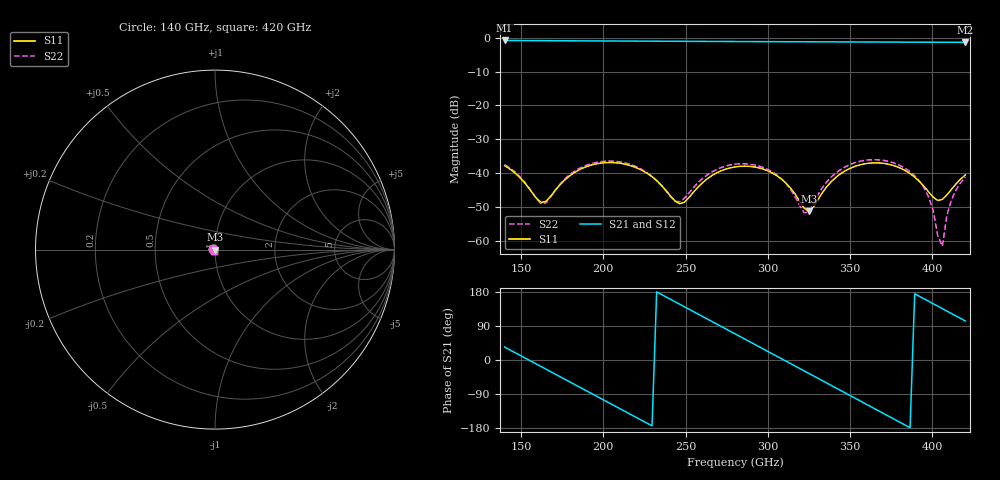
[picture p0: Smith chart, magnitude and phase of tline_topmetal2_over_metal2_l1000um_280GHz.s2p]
#  GHZ S DB R 50
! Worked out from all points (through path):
!   101 points, 140 GHz to 420 GHz, reference 50 ohm
!   highest |S21| = -0.83 dB at 140 GHz (marker M1); lowest = -1.4 dB at 420 GHz (marker M2)
!   group delay of S21, straight-line fit = 6.46 ps
!   lowest |S11| = -51.2 dB at 324.8 GHz (marker M3), VSWR 1.01, Z = 50.3 - j0.0711 ohm
!   |S11| at or under -10 dB: start of sweep to end of sweep
!   |S22| runs from -61.5 to -36.0 dB; largest |S21 - S12| = 1e-13
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140  -37.73 169.2  -0.83 34.1  -0.83 34.1  -37.44 170.9
162.4  -48.59 39.0  -0.88 -17.8  -0.88 -17.8  -49.04 42.1
187.6  -38.44 -110.9  -0.95 -76.3  -0.95 -76.3  -38.03 -109.5
207.2  -36.88 -172.5  -0.99 -121.8  -0.99 -121.8  -36.48 -169.5
221.2  -38.59 143.2  -1.02 -154.3  -1.02 -154.3  -38.31 146.9
235.2  -43.48 89.2  -1.05 173.2  -1.05 173.2  -43.57 91.7
246.4  -48.98 3.1  -1.07 147.2  -1.07 147.2  -48.41 -1.8
263.2  -41.59 -111.7  -1.11 108.1  -1.11 108.1  -40.44 -106.6
280  -38.11 -168.2  -1.14 69.0  -1.14 69.0  -37.30 -160.8
302.4  -39.83 122.9  -1.18 16.9  -1.18 16.9  -39.51 132.5
324.8  -51.18 -14.8  -1.22 -35.2  -1.22 -35.2  -51.42 -22.8
327.6  -49.98 -49.8  -1.22 -41.7  -1.22 -41.7  -48.96 -55.3
336  -43.81 -107.7  -1.24 -61.3  -1.24 -61.3  -42.38 -102.9
350  -38.52 -157.7  -1.26 -93.9  -1.26 -93.9  -37.39 -147.8
375.2  -37.55 127.5  -1.31 -152.6  -1.31 -152.6  -36.73 144.5
394.8  -43.82 54.3  -1.34 161.7  -1.34 161.7  -44.22 91.8
400.4  -47.03 14.7  -1.35 148.6  -1.35 148.6  -50.89 72.0
403.2  -48.00 -13.4  -1.35 142.1  -1.35 142.1  -58.40 49.5
406  -47.71 -43.4  -1.35 135.5  -1.35 135.5  -61.48 -72.3
408.8  -46.37 -69.2  -1.36 129.0  -1.36 129.0  -52.26 -105.7
411.6  -44.68 -89.3  -1.36 122.5  -1.36 122.5  -47.73 -117.8
420  -40.47 -129.2  -1.38 102.9  -1.38 102.9  -41.14 -142.7
